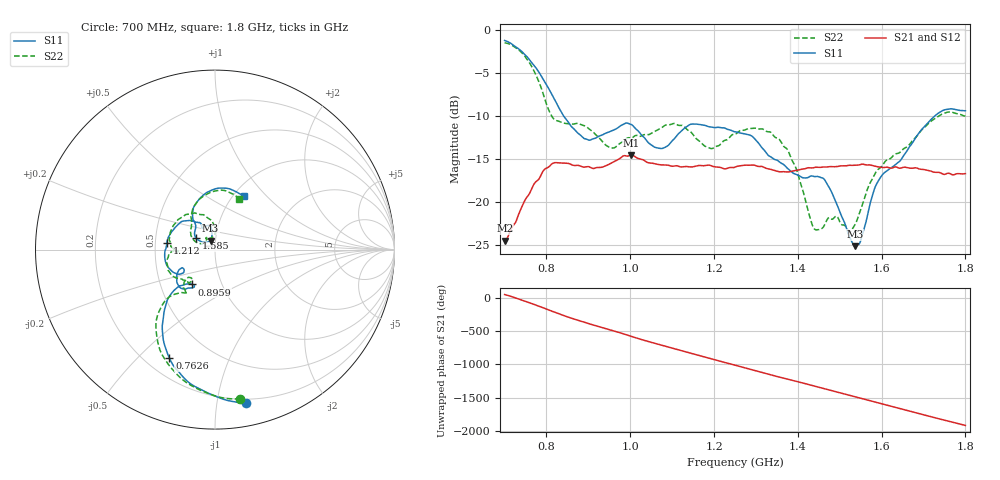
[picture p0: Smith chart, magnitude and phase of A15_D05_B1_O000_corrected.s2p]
! Created with skrf 1.9.0 (http://scikit-rf.org).
# Hz S RI R 50.0
!freq ReS11 ImS11 ReS21 ImS21 ReS12 ImS12 ReS22 ImS22
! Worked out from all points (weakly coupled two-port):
!   1601 points, 700 MHz to 1.8 GHz, reference 50 ohm
!   highest |S21| = -14.56 dB at 1.002 GHz (marker M1); lowest = -24.5 dB at 700.7 MHz (marker M2)
!   lowest |S11| = -25.2 dB at 1.537 GHz (marker M3), VSWR 1.12, Z = 47.3 + j4.68 ohm
!   |S11| at or under -10 dB: 840.8 MHz to 1.727 GHz (886.3 MHz wide, 69 % of centre)
!   |S22| runs from -23.5 to -1.5 dB; largest |S21 - S12| = 0.0035
!   S11 on the Smith chart (normalised r, x): 700 MHz: 0.17, -1.21; 762.6 MHz: 0.29, -0.62; 895.9 MHz: 0.72, -0.30; 1.212 GHz: 0.58, +0.05; 1.585 GHz: 0.80, +0.10; 1.8 GHz: 1.12, +0.75
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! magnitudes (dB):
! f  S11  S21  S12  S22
! 700 MHz  -1.2  -24.5  -24.3  -1.5
! 700.7 MHz  -1.2  -24.5  -24.2  -1.5
! 762.6 MHz  -3.7  -18.7  -18.7  -4.1
! 816.2 MHz  -7.8  -15.5  -15.6  -10.3
! 883.6 MHz  -12.4  -15.9  -15.8  -11.0
! 895.9 MHz  -12.7  -15.9  -16.0  -11.3
! 954.4 MHz  -11.8  -15.5  -15.5  -13.7
! 1.002 GHz  -11.0  -14.6  -14.6  -12.6
! 1.067 GHz  -13.7  -15.6  -15.6  -11.6
! 1.143 GHz  -11.0  -15.9  -15.9  -11.8
! 1.212 GHz  -11.3  -16.0  -16.0  -13.4
! 1.25 GHz  -11.8  -16.0  -15.9  -12.1
! 1.357 GHz  -15.4  -16.5  -16.4  -12.8
! 1.395 GHz  -16.8  -16.3  -16.3  -16.0
! 1.434 GHz  -17.0  -16.0  -16.0  -22.6
! 1.468 GHz  -17.7  -15.9  -15.9  -22.3
! 1.537 GHz  -25.2  -15.7  -15.7  -22.6
! 1.551 GHz  -24.3  -15.6  -15.7  -20.7
! 1.585 GHz  -18.2  -15.9  -15.9  -16.6
! 1.617 GHz  -16.2  -16.0  -16.0  -15.0
! 1.733 GHz  -9.8  -16.6  -16.6  -10.1
! 1.8 GHz  -9.4  -16.7  -16.7  -10.0
